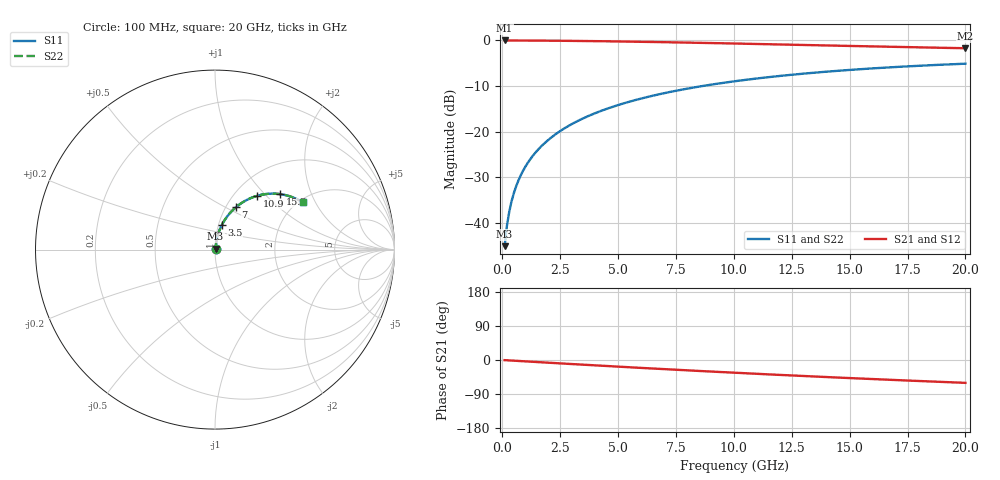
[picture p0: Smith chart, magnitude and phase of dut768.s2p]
! Touchstone file exported from HFSS 2026.1.0
!  File:  C:/ffzhzh/LocalFiles/Ansys_Project_Files/temp_train_TMRDL_768_1783155560_51560.aedt
!  Generated:  05:00:45 PM Jul  4, 2026
!  Design:  TMRDL
!  Project:  temp_train_TMRDL_768_1783155560_51560
! Variables:
!  h_bsmrdl = 2um
!  h_ox = 20um
!  h_rdl = 5um
!  h_sub = 80um
!  h_tmrdl = 5.33um
!  h_tsv = 80um
!  h_via = 3um
!  l_bsmrdl = 300um
!  l_sub = 1322.86um
!  l_tmrdl = 922.86um
!  m_sub = 200um
!  pitch = 55.06um
!  r_tsv = 6um
!  s_tmrdl = 10um
!  w_bsmrdl = 18um
!  w_sub = 500um
!  w_tmrdl = 18.03um
!  x_tsv_center1 = 931.875um
!  x_tsv_center2 = 1249.875um
!  x_tsv_center3 = 2190.765um
!  x_tsv_center4 = 2508.765um
!  x_tsv_center5 = 3449.655um
!  x_tsv_center6 = 3767.655um
# GHz S MA R 50.000000
! Terminal data exported
! Port[1] = TM_RDL1_1_T1
! Port[2] = TM_RDL1_1_T2
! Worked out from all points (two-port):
!   200 points, 100 MHz to 20 GHz, reference 50 ohm
!   highest |S21| = -0.03 dB at 100 MHz (marker M1); lowest = -1.7 dB at 20 GHz (marker M2)
!   |S21| within 3 dB of the highest: start of sweep to end of sweep
!   lowest |S11| = -45.1 dB at 100 MHz (marker M3), VSWR 1.01, Z = 50.4 + j0.435 ohm
!   |S11| at or under -10 dB: start of sweep to 8.654 GHz
!   |S22| runs from -45.1 to -5.1 dB; largest |S21 - S12| = 1.7e-14
!   S11 on the Smith chart (normalised r, x): 100 MHz: 1.01, +0.01; 3.5 GHz: 1.04, +0.29; 7 GHz: 1.11, +0.57; 10.9 GHz: 1.26, +0.88; 15.2 GHz: 1.55, +1.24; 20 GHz: 2.08, +1.59
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0.1  0.005576 50.7  0.9965 -0.4  0.9965 -0.4  0.005576 50.7
! Gamma 0 0 0 0
! Port Impedance 50 0 50 0
0.2  0.009325 66.1  0.9963 -0.7  0.9963 -0.7  0.009325 66.1
0.3  0.01328 72.2  0.9961 -1.1  0.9961 -1.1  0.01328 72.2
0.4  0.01728 75.3  0.9959 -1.5  0.9959 -1.5  0.01728 75.3
0.5  0.02129 77.2  0.9957 -1.8  0.9957 -1.8  0.02129 77.2
0.7  0.02936 79.2  0.9954 -2.5  0.9954 -2.5  0.02936 79.2
1  0.04151 80.3  0.9947 -3.6  0.9947 -3.6  0.04151 80.3
1.4  0.05769 80.3  0.9936 -5.0  0.9936 -5.0  0.05769 80.3
2  0.08175 79.1  0.9914 -7.2  0.9914 -7.2  0.08175 79.1
2.7  0.1094 77.2  0.988 -9.6  0.988 -9.6  0.1094 77.2
3.5  0.1401 74.7  0.9832 -12.4  0.9832 -12.4  0.1401 74.7
4.2  0.1664 72.5  0.9783 -14.8  0.9783 -14.8  0.1664 72.5
5  0.1955 69.9  0.9721 -17.5  0.9721 -17.5  0.1955 69.9
6.8  0.2576 64.3  0.9562 -23.5  0.9562 -23.5  0.2576 64.3
7  0.2642 63.7  0.9543 -24.1  0.9543 -24.1  0.2642 63.7
8.5  0.3116 59.1  0.9391 -28.9  0.9391 -28.9  0.3116 59.1
10.1  0.3581 54.3  0.9219 -33.8  0.9219 -33.8  0.3581 54.3
10.9  0.3797 52.0  0.9131 -36.2  0.9131 -36.2  0.3797 52.0
13.4  0.4405 45.0  0.8852 -43.4  0.8852 -43.4  0.4405 45.0
15.2  0.478 40.3  0.8656 -48.3  0.8656 -48.3  0.478 40.3
16.7  0.5054 36.4  0.85 -52.2  0.85 -52.2  0.5054 36.4
20  0.5546 28.4  0.8193 -60.3  0.8193 -60.3  0.5546 28.4
